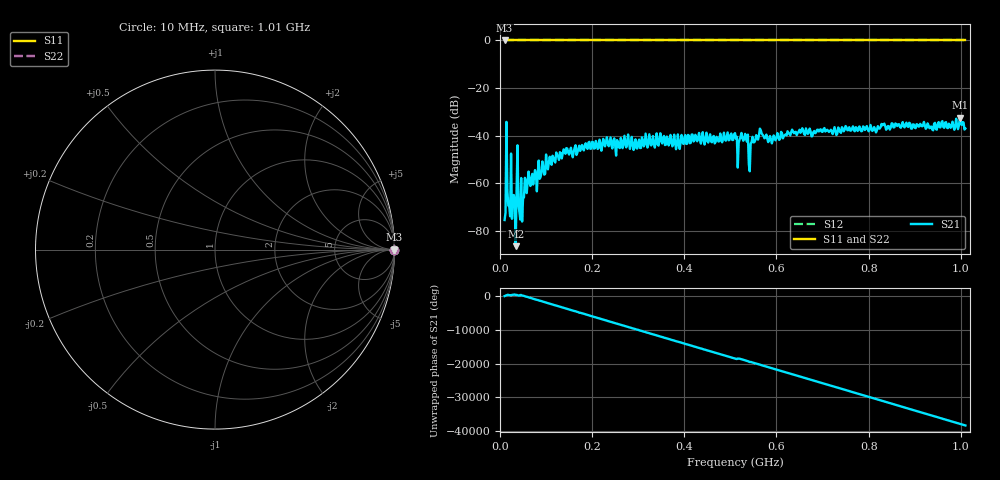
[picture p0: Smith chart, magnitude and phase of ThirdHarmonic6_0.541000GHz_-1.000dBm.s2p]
! 8/15/2025 5:00:36 PM
! C:\ANRITSUVNA\TEMP\TEMP.S2P
! CHANNEL.1
! TR.MEASUREMENT
! RAW.DATA
! RF.CORRECTION.OFF
! AVERAGING.OFF
! IF.BANDWIDTH: 5KHZ
! SWEEPTYPE:  FREQ.SWEEP(Linear)
! Reference Plane Port Info
! PORT:  PORT1  PORT2
! DISTANCE:  0  m  0  m
! TIME:  0  s  0  s
! PHASE.OFFSET:  0  deg.  0  deg.
! LOSS:  0  dB  0  dB
! REF.LOSS:  0  dB  0  dB
! REF.FREQ:  0  Hz  0  Hz
! Power Info
! POWER:  -20  dBm  -20  dBm
! EFF.POWER:  -20  dBm  -20  dBm
! SOURCE.ATTEN:  0  dB  0  dB
! TEST.ATTEN:  0  dB  0  dB
# GHZ S RI R 50.0
! FREQ.GHZ  S11RE  S11IM  S21RE  S21IM  S12RE  S12IM  S22RE  S22IM
!; PortSelection: Port_12
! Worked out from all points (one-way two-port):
!   501 points, 10 MHz to 1.01 GHz, reference 50 ohm
!   highest |S21| = -32.38 dB at 998 MHz (marker M1); lowest = -86.4 dB at 34 MHz (marker M2)
!   lowest |S11| = 0.0 dB at 10 MHz (marker M3)
!   |S11| at or under -10 dB: nowhere
!   |S22| runs from 0.0 to 0.0 dB; largest |S21 - S12| = 1
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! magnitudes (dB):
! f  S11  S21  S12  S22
! 10 MHz  0.0  -75.4  0.0  0.0
! 18 MHz  0.0  -69.4  0.0  0.0
! 22 MHz  0.0  -73.8  0.0  0.0
! 28 MHz  0.0  -66.2  0.0  0.0
! 30 MHz  0.0  -64.9  0.0  0.0
! 34 MHz  0.0  -86.4  0.0  0.0
! 42 MHz  0.0  -72.1  0.0  0.0
! 44 MHz  0.0  -75.2  0.0  0.0
! 58 MHz  0.0  -64.1  0.0  0.0
! 142 MHz  0.0  -47.6  0.0  0.0
! 178 MHz  0.0  -43.9  0.0  0.0
! 344 MHz  0.0  -44.2  0.0  0.0
! 510 MHz  0.0  -38.9  0.0  0.0
! 516 MHz  0.0  -53.4  0.0  0.0
! 534 MHz  0.0  -41.3  0.0  0.0
! 544 MHz  0.0  -43.4  0.0  0.0
! 566 MHz  0.0  -37.7  0.0  0.0
! 586 MHz  0.0  -40.1  0.0  0.0
! 678 MHz  0.0  -40.2  0.0  0.0
! 844 MHz  0.0  -36.1  0.0  0.0
! 998 MHz  0.0  -32.4  0.0  0.0
! 1.01 GHz  0.0  -37.0  0.0  0.0
